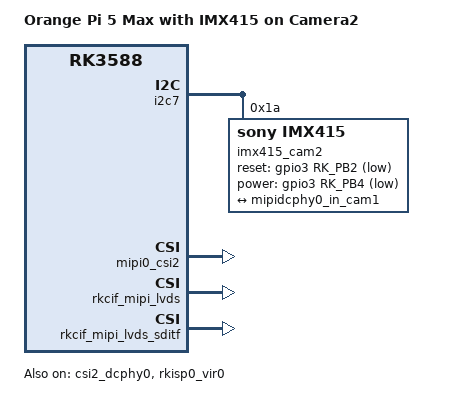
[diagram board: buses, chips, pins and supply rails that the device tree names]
// SPDX-License-Identifier: (GPL-2.0+ OR MIT)
/* Orange Pi 5 Max: one four-lane IMX415 on Camera2. */
#include "rk3588-orangepi-5-max.dts"

/ {
	model = "Orange Pi 5 Max with IMX415 on Camera2";
};

&i2c7 {
	status = "okay";

	imx415_cam2: imx415@1a {
		compatible = "sony,imx415";
		reg = <0x1a>;
		clocks = <&cru CLK_MIPI_CAMARAOUT_M3>;
		clock-names = "xvclk";
		assigned-clocks = <&cru CLK_MIPI_CAMARAOUT_M3>;
		assigned-clock-rates = <37125000>;
		power-domains = <&power RK3588_PD_VI>;
		pinctrl-names = "default";
		pinctrl-0 = <&mipim1_camera3_clk>;
		reset-gpios = <&gpio3 RK_PB2 GPIO_ACTIVE_LOW>;
		power-gpios = <&gpio3 RK_PB4 GPIO_ACTIVE_LOW>;
		rockchip,camera-module-index = <2>;
		rockchip,camera-module-facing = "back";
		rockchip,camera-module-name = "IMX415";
		rockchip,camera-module-lens-name = "default";
		rockchip,camera-hdr-mode = <0>;
		status = "okay";

		port {
			imx415_cam2_out: endpoint {
				remote-endpoint = <&mipidcphy0_in_cam1>;
				data-lanes = <1 2 3 4>;
			};
		};
	};
};

&mipidcphy0_in_cam1 {
	remote-endpoint = <&imx415_cam2_out>;
	data-lanes = <1 2 3 4>;
};

&ov13855_out2 {
	/delete-property/ remote-endpoint;
};

&csi2_dcphy0 {
	status = "okay";
};

&mipi0_csi2 {
	status = "okay";
};

&rkcif_mipi_lvds {
	status = "okay";
};

&rkcif_mipi_lvds_sditf {
	status = "okay";
};

&rkisp0_vir0 {
	status = "okay";
};
